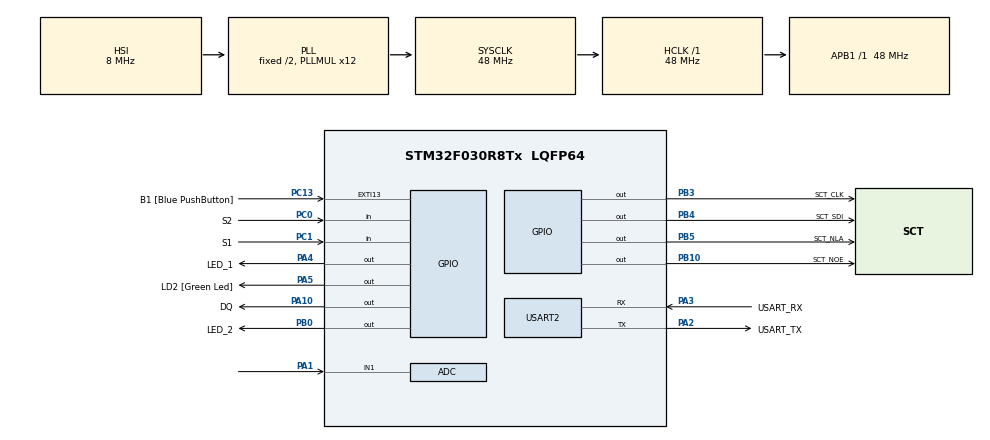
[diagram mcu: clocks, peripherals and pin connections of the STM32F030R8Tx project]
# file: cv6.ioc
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ADC.ContinuousConvMode=ENABLE
ADC.Overrun=ADC_OVR_DATA_OVERWRITTEN
ADC.Resolution=ADC_RESOLUTION_10B
Mcu.Family=STM32F0
Mcu.Name=STM32F030R8Tx
Mcu.Package=LQFP64
PA1.Mode=IN1
PA1.Signal=ADC_IN1
PA10.GPIO_Label=DQ
PA10.Signal=GPIO_Output
PA13.GPIO_Label=TMS
PA13.Mode=Serial_Wire
PA13.Signal=SYS_SWDIO
PA14.GPIO_Label=TCK
PA14.Mode=Serial_Wire
PA14.Signal=SYS_SWCLK
PA2.GPIO_Label=USART_TX
PA2.GPIO_Mode=GPIO_MODE_AF_PP
PA2.GPIO_PuPd=GPIO_NOPULL
PA2.GPIO_Speed=GPIO_SPEED_FREQ_LOW
PA2.Mode=Asynchronous
PA2.Signal=USART2_TX
PA3.GPIO_Label=USART_RX
PA3.GPIO_Mode=GPIO_MODE_AF_PP
PA3.GPIO_PuPd=GPIO_NOPULL
PA3.GPIO_Speed=GPIO_SPEED_FREQ_LOW
PA3.Mode=Asynchronous
PA3.Signal=USART2_RX
PA4.GPIO_Label=LED_1
PA4.Signal=GPIO_Output
PA5.GPIO_Label=LD2 [Green Led]
PA5.GPIO_Mode=GPIO_MODE_OUTPUT_PP
PA5.GPIO_PuPd=GPIO_NOPULL
PA5.GPIO_Speed=GPIO_SPEED_FREQ_LOW
PA5.Signal=GPIO_Output
PB0.GPIO_Label=LED_2
PB0.Signal=GPIO_Output
PB10.GPIO_Label=SCT_NOE
PB10.Signal=GPIO_Output
PB3.GPIO_Label=SCT_CLK
PB3.Signal=GPIO_Output
PB4.GPIO_Label=SCT_SDI
PB4.Signal=GPIO_Output
PB5.GPIO_Label=SCT_NLA
PB5.Signal=GPIO_Output
PC0.GPIO_Label=S2
PC0.GPIO_PuPd=GPIO_PULLUP
PC0.Signal=GPIO_Input
PC1.GPIO_Label=S1
PC1.GPIO_PuPd=GPIO_PULLUP
PC1.Signal=GPIO_Input
PC13.GPIO_Label=B1 [Blue PushButton]
PC13.GPIO_ModeDefaultEXTI=GPIO_MODE_IT_FALLING
PC13.Signal=GPXTI13
PC14-OSC32_IN.Mode=LSE-External-Oscillator
PC14-OSC32_IN.Signal=RCC_OSC32_IN
PC15-OSC32_OUT.Mode=LSE-External-Oscillator
PC15-OSC32_OUT.Signal=RCC_OSC32_OUT
PF0-OSC_IN.Mode=HSE-External-Clock-Source
PF0-OSC_IN.Signal=RCC_OSC_IN
PF1-OSC_OUT.Signal=RCC_OSC_OUT
ProjectManager.HeapSize=0x200
ProjectManager.StackSize=0x400
ProjectManager.TargetToolchain=STM32CubeIDE
RCC.AHBFreq_Value=48000000
RCC.APB1Freq_Value=48000000
RCC.APB1TimFreq_Value=48000000
RCC.HCLKFreq_Value=48000000
RCC.PLLMUL=RCC_PLL_MUL12
RCC.SYSCLKFreq_VALUE=48000000
RCC.SYSCLKSource=RCC_SYSCLKSOURCE_PLLCLK
USART2.VirtualMode-Asynchronous=VM_ASYNC
board=NUCLEO-F030R8

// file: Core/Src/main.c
/* USER CODE BEGIN Header */
/**
 ******************************************************************************
 * @file           : main.c
 * @brief          : Main program body
 ******************************************************************************
 * @attention
 *
 * Copyright (c) 2025 STMicroelectronics.
 * All rights reserved.
 *
 * This software is licensed under terms that can be found in the LICENSE file
 * in the root directory of this software component.
 * If no LICENSE file comes with this software, it is provided AS-IS.
 *
 ******************************************************************************
 */
/* USER CODE END Header */
#include "main.h"

/* USER CODE BEGIN Includes */
#include "sct.h"
#include "1wire.h"
#include <stdint.h>
/* USER CODE END Includes */

/* USER CODE BEGIN PD */

#define CONVERT_T_DELAY 750

/* USER CODE END PD */

/* USER CODE BEGIN PM */
typedef enum { S2_ACTIVE, S1_ACTIVE } State_t;
static State_t current_state = S2_ACTIVE;
static uint32_t ds18b20_last_conversion = 0;
/* USER CODE END PM */

ADC_HandleTypeDef hadc;

UART_HandleTypeDef huart2;

/* USER CODE BEGIN PV */

static const int16_t ntc_table[1024] = {
#include "data.dlm"
};

/* USER CODE END PV */

void SystemClock_Config(void);
static void MX_GPIO_Init(void);
static void MX_USART2_UART_Init(void);
static void MX_ADC_Init(void);

int main(void)
{

  /* MCU Configuration--------------------------------------------------------*/

  /* Reset of all peripherals, Initializes the Flash interface and the Systick. */
  HAL_Init();

  /* Configure the system clock */
  SystemClock_Config();

  /* Initialize all configured peripherals */
  MX_GPIO_Init();
  MX_USART2_UART_Init();
  MX_ADC_Init();
  /* USER CODE BEGIN 2 */

	sct_init();
	OWInit();

	HAL_ADCEx_Calibration_Start(&hadc);
	HAL_ADC_Start(&hadc);

  /* USER CODE END 2 */

  /* Infinite loop */
  /* USER CODE BEGIN WHILE */
	while (1)
	{
		/*
	  OWConvertAll();
	  HAL_Delay(CONVERT_T_DELAY);

	      int16_t temp_18b20;
	      if (OWReadTemperature(&temp_18b20)) {

	    	  int16_t tenths = (temp_18b20 >= 0) ? (temp_18b20 + 5) / 10 : (temp_18b20 - 5) / 10;

	          uint8_t led = 0;   // bargraph

	          sct_value((uint16_t)tenths, led);
	      }*/

		if(HAL_GPIO_ReadPin(GPIOC, S2_Pin) == GPIO_PIN_RESET)
			current_state = S2_ACTIVE;
		else if(HAL_GPIO_ReadPin(GPIOC, S1_Pin) == GPIO_PIN_RESET)
			current_state = S1_ACTIVE;

		switch(current_state)
		{
		/*case IDLE:
			HAL_GPIO_WritePin(GPIOA, LED_1_Pin|LED_2_Pin, GPIO_PIN_RESET);
			break;
		 */
		case S2_ACTIVE:
		{
			HAL_GPIO_WritePin(LED_1_GPIO_Port, LED_1_Pin, GPIO_PIN_SET);
			HAL_GPIO_WritePin(LED_2_GPIO_Port, LED_2_Pin, GPIO_PIN_RESET);

			uint16_t ad = HAL_ADC_GetValue(&hadc);
			int16_t t10 = ntc_table[ad];
			if(t10 < 0) t10 = 0;

			sct_value((uint16_t)t10, 0, 1);
			break;
		}

		case S1_ACTIVE:
		{
			HAL_GPIO_WritePin(LED_1_GPIO_Port, LED_1_Pin, GPIO_PIN_RESET);
			HAL_GPIO_WritePin(LED_2_GPIO_Port, LED_2_Pin, GPIO_PIN_SET);

			if(HAL_GetTick() - ds18b20_last_conversion >= CONVERT_T_DELAY)
			{
				OWConvertAll();
				ds18b20_last_conversion = HAL_GetTick();
			}

			int16_t temp_18b20;
			if(OWReadTemperature(&temp_18b20))
			{
				int16_t tenths = (temp_18b20 >= 0) ? (temp_18b20 + 5)/10 : (temp_18b20 - 5)/10;
				sct_value((uint16_t)tenths, 0, 1);
			}
			break;
		}
		}

		HAL_Delay(100);

    /* USER CODE END WHILE */

	}
}

void SystemClock_Config(void)
{
  RCC_OscInitTypeDef RCC_OscInitStruct = {0};
  RCC_ClkInitTypeDef RCC_ClkInitStruct = {0};

  /** Initializes the RCC Oscillators according to the specified parameters
  * in the RCC_OscInitTypeDef structure.
  */
  RCC_OscInitStruct.OscillatorType = RCC_OSCILLATORTYPE_HSI|RCC_OSCILLATORTYPE_HSI14;
  RCC_OscInitStruct.HSIState = RCC_HSI_ON;
  RCC_OscInitStruct.HSI14State = RCC_HSI14_ON;
  RCC_OscInitStruct.HSICalibrationValue = RCC_HSICALIBRATION_DEFAULT;
  RCC_OscInitStruct.HSI14CalibrationValue = 16;
  RCC_OscInitStruct.PLL.PLLState = RCC_PLL_ON;
  RCC_OscInitStruct.PLL.PLLSource = RCC_PLLSOURCE_HSI;
  RCC_OscInitStruct.PLL.PLLMUL = RCC_PLL_MUL12;
  RCC_OscInitStruct.PLL.PREDIV = RCC_PREDIV_DIV1;
  if (HAL_RCC_OscConfig(&RCC_OscInitStruct) != HAL_OK)
  {
    Error_Handler();
  }

  /** Initializes the CPU, AHB and APB buses clocks
  */
  RCC_ClkInitStruct.ClockType = RCC_CLOCKTYPE_HCLK|RCC_CLOCKTYPE_SYSCLK
                              |RCC_CLOCKTYPE_PCLK1;
  RCC_ClkInitStruct.SYSCLKSource = RCC_SYSCLKSOURCE_PLLCLK;
  RCC_ClkInitStruct.AHBCLKDivider = RCC_SYSCLK_DIV1;
  RCC_ClkInitStruct.APB1CLKDivider = RCC_HCLK_DIV1;

  if (HAL_RCC_ClockConfig(&RCC_ClkInitStruct, FLASH_LATENCY_1) != HAL_OK)
  {
    Error_Handler();
  }
}

static void MX_ADC_Init(void)
{

  ADC_ChannelConfTypeDef sConfig = {0};

  /** Configure the global features of the ADC (Clock, Resolution, Data Alignment and number of conversion)
  */
  hadc.Instance = ADC1;
  hadc.Init.ClockPrescaler = ADC_CLOCK_ASYNC_DIV1;
  hadc.Init.Resolution = ADC_RESOLUTION_10B;
  hadc.Init.DataAlign = ADC_DATAALIGN_RIGHT;
  hadc.Init.ScanConvMode = ADC_SCAN_DIRECTION_FORWARD;
  hadc.Init.EOCSelection = ADC_EOC_SINGLE_CONV;
  hadc.Init.LowPowerAutoWait = DISABLE;
  hadc.Init.LowPowerAutoPowerOff = DISABLE;
  hadc.Init.ContinuousConvMode = ENABLE;
  hadc.Init.DiscontinuousConvMode = DISABLE;
  hadc.Init.ExternalTrigConv = ADC_SOFTWARE_START;
  hadc.Init.ExternalTrigConvEdge = ADC_EXTERNALTRIGCONVEDGE_NONE;
  hadc.Init.DMAContinuousRequests = DISABLE;
  hadc.Init.Overrun = ADC_OVR_DATA_OVERWRITTEN;
  if (HAL_ADC_Init(&hadc) != HAL_OK)
  {
    Error_Handler();
  }

  /** Configure for the selected ADC regular channel to be converted.
  */
  sConfig.Channel = ADC_CHANNEL_1;
  sConfig.Rank = ADC_RANK_CHANNEL_NUMBER;
  sConfig.SamplingTime = ADC_SAMPLETIME_1CYCLE_5;
  if (HAL_ADC_ConfigChannel(&hadc, &sConfig) != HAL_OK)
  {
    Error_Handler();
  }

}

static void MX_USART2_UART_Init(void)
{

  huart2.Instance = USART2;
  huart2.Init.BaudRate = 38400;
  huart2.Init.WordLength = UART_WORDLENGTH_8B;
  huart2.Init.StopBits = UART_STOPBITS_1;
  huart2.Init.Parity = UART_PARITY_NONE;
  huart2.Init.Mode = UART_MODE_TX_RX;
  huart2.Init.HwFlowCtl = UART_HWCONTROL_NONE;
  huart2.Init.OverSampling = UART_OVERSAMPLING_16;
  huart2.Init.OneBitSampling = UART_ONE_BIT_SAMPLE_DISABLE;
  huart2.AdvancedInit.AdvFeatureInit = UART_ADVFEATURE_NO_INIT;
  if (HAL_UART_Init(&huart2) != HAL_OK)
  {
    Error_Handler();
  }

}

static void MX_GPIO_Init(void)
{
  GPIO_InitTypeDef GPIO_InitStruct = {0};

  /* GPIO Ports Clock Enable */
  __HAL_RCC_GPIOC_CLK_ENABLE();
  __HAL_RCC_GPIOF_CLK_ENABLE();
  __HAL_RCC_GPIOA_CLK_ENABLE();
  __HAL_RCC_GPIOB_CLK_ENABLE();

  /*Configure GPIO pin Output Level */
  HAL_GPIO_WritePin(GPIOA, LED_1_Pin|LD2_Pin|DQ_Pin, GPIO_PIN_RESET);

  /*Configure GPIO pin Output Level */
  HAL_GPIO_WritePin(GPIOB, LED_2_Pin|SCT_NOE_Pin|SCT_CLK_Pin|SCT_SDI_Pin
                          |SCT_NLA_Pin, GPIO_PIN_RESET);

  /*Configure GPIO pin : B1_Pin */
  GPIO_InitStruct.Pin = B1_Pin;
  GPIO_InitStruct.Mode = GPIO_MODE_IT_FALLING;
  GPIO_InitStruct.Pull = GPIO_NOPULL;
  HAL_GPIO_Init(B1_GPIO_Port, &GPIO_InitStruct);

  /*Configure GPIO pins : S2_Pin S1_Pin */
  GPIO_InitStruct.Pin = S2_Pin|S1_Pin;
  GPIO_InitStruct.Mode = GPIO_MODE_INPUT;
  GPIO_InitStruct.Pull = GPIO_PULLUP;
  HAL_GPIO_Init(GPIOC, &GPIO_InitStruct);

  /*Configure GPIO pins : LED_1_Pin LD2_Pin DQ_Pin */
  GPIO_InitStruct.Pin = LED_1_Pin|LD2_Pin|DQ_Pin;
  GPIO_InitStruct.Mode = GPIO_MODE_OUTPUT_PP;
  GPIO_InitStruct.Pull = GPIO_NOPULL;
  GPIO_InitStruct.Speed = GPIO_SPEED_FREQ_LOW;
  HAL_GPIO_Init(GPIOA, &GPIO_InitStruct);

  /*Configure GPIO pins : LED_2_Pin SCT_NOE_Pin SCT_CLK_Pin SCT_SDI_Pin
                           SCT_NLA_Pin */
  GPIO_InitStruct.Pin = LED_2_Pin|SCT_NOE_Pin|SCT_CLK_Pin|SCT_SDI_Pin
                          |SCT_NLA_Pin;
  GPIO_InitStruct.Mode = GPIO_MODE_OUTPUT_PP;
  GPIO_InitStruct.Pull = GPIO_NOPULL;
  GPIO_InitStruct.Speed = GPIO_SPEED_FREQ_LOW;
  HAL_GPIO_Init(GPIOB, &GPIO_InitStruct);

}

void Error_Handler(void)
{
	__disable_irq();
	while (1)
	{
	}
}
